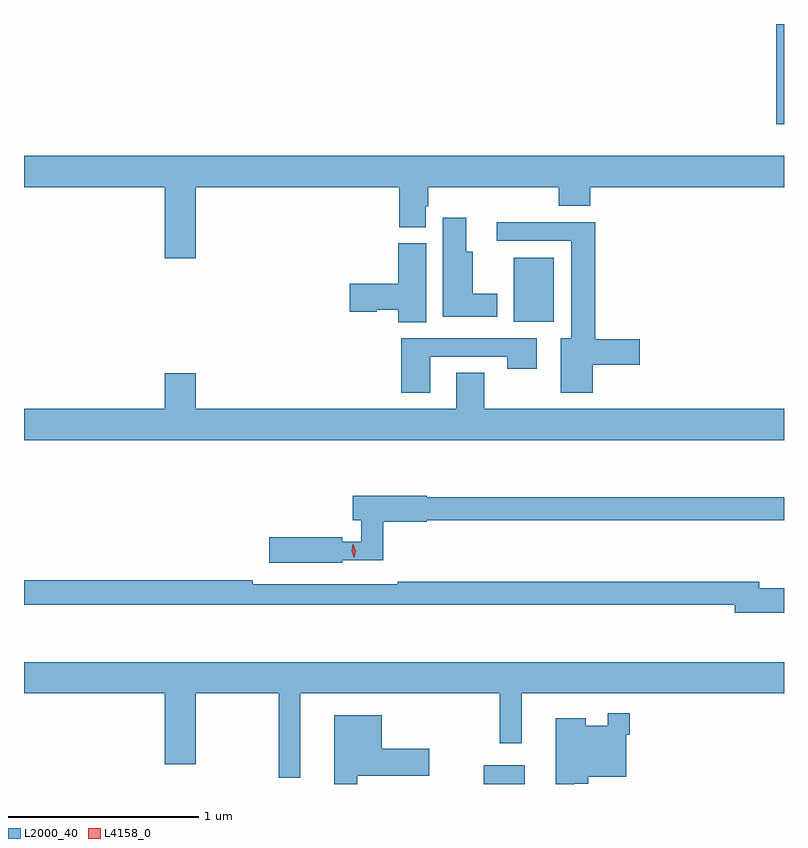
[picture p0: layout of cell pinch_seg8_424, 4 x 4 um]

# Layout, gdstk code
import gdstk
lib = gdstk.Library(unit=1e-6, precision=1e-09)
def R(c, l, rs):  # rectangles x0, y0, x1, y1
    for r in rs: c.add(gdstk.rectangle(r[:2], r[2:], *l))
def P(c, l, *ps):  # polygons
    for p in ps: c.add(gdstk.Polygon(p, *l))
L2000_40 = (2000, 40)
L4158_0 = (4158, 0)

pinch_seg8_424 = lib.new_cell('pinch_seg8_424')
R(pinch_seg8_424, L2000_40, [(274.58,1124.014,274.795,1124.113), (274.736,1126.448,274.948,1126.783), (276.118,1127.486,276.159,1128.014)])
P(pinch_seg8_424, L2000_40, [(273.064,1127.156),(274.133,1127.156),(274.133,1126.945),(274.273,1126.945),(274.273,1127.055),(274.286,1127.055),(274.286,1127.156),(274.973,1127.156),(274.973,1127.057),(275.138,1127.057),(275.138,1127.156),(276.159,1127.156),(276.159,1127.32),(272.159,1127.32),(272.159,1127.156),(272.9,1127.156),(272.9,1126.782),(273.064,1126.782)],
  [(274.651,1126.594),(274.522,1126.594),(274.522,1126.816),(274.486,1126.816),(274.486,1126.993),(274.364,1126.993),(274.364,1126.472),(274.651,1126.472)],
  [(275.152,1126.22),(275.401,1126.22),(275.401,1126.355),(275.165,1126.355),(275.165,1126.97),(274.647,1126.97),(274.647,1126.872),(275.039,1126.872),(275.039,1126.36),(274.985,1126.36),(274.985,1126.074),(275.152,1126.074)],
  [(274.276,1126.86),(274.13,1126.86),(274.13,1126.646),(273.873,1126.646),(273.873,1126.499),(274.016,1126.499),(274.016,1126.511),(274.13,1126.511),(274.13,1126.444),(274.276,1126.444)],
  [(274.297,1126.263),(274.702,1126.263),(274.702,1126.2),(274.858,1126.2),(274.858,1126.359),(274.145,1126.359),(274.145,1126.074),(274.297,1126.074)],
  [(276.159,1125.988),(274.581,1125.988),(274.581,1126.178),(274.433,1126.178),(274.433,1125.988),(273.064,1125.988),(273.064,1126.177),(272.9,1126.177),(272.9,1125.988),(272.159,1125.988),(272.159,1125.824),(276.159,1125.824)],
  [(273.834,1125.192),(274.049,1125.192),(274.049,1125.394),(274.278,1125.394),(274.278,1125.402),(276.159,1125.402),(276.159,1125.523),(274.278,1125.523),(274.278,1125.531),(273.89,1125.531),(273.89,1125.401),(273.933,1125.401),(273.933,1125.288),(273.834,1125.288),(273.834,1125.314),(273.45,1125.314),(273.45,1125.179),(273.834,1125.179)],
  [(276.159,1125.045),(276.028,1125.045),(276.028,1125.079),(274.126,1125.079),(274.126,1125.066),(273.362,1125.066),(273.362,1125.086),(272.159,1125.086),(272.159,1124.958),(275.9,1124.958),(275.9,1124.915),(276.159,1124.915)],
  [(273.613,1124.492),(274.663,1124.492),(274.663,1124.229),(274.78,1124.229),(274.78,1124.492),(276.159,1124.492),(276.159,1124.656),(272.159,1124.656),(272.159,1124.492),(272.9,1124.492),(272.9,1124.118),(273.064,1124.118),(273.064,1124.492),(273.499,1124.492),(273.499,1124.048),(273.613,1124.048)],
  [(275.055,1124.015),(275.129,1124.015),(275.129,1124.051),(275.328,1124.051),(275.328,1124.273),(275.348,1124.273),(275.348,1124.386),(275.232,1124.386),(275.232,1124.32),(275.116,1124.32),(275.116,1124.359),(274.958,1124.359),(274.958,1124.014),(275.055,1124.014)],
  [(273.913,1124.057),(274.291,1124.057),(274.291,1124.199),(274.042,1124.199),(274.042,1124.377),(273.791,1124.377),(273.791,1124.014),(273.913,1124.014)])
P(pinch_seg8_424, L4158_0, [(273.897,1125.204),(273.897,1125.204),(273.884,1125.238),(273.89,1125.275),(273.89,1125.275),(273.891,1125.275),(273.904,1125.24),(273.897,1125.204)])

lib.write_gds('pinch_seg8_424.gds')
